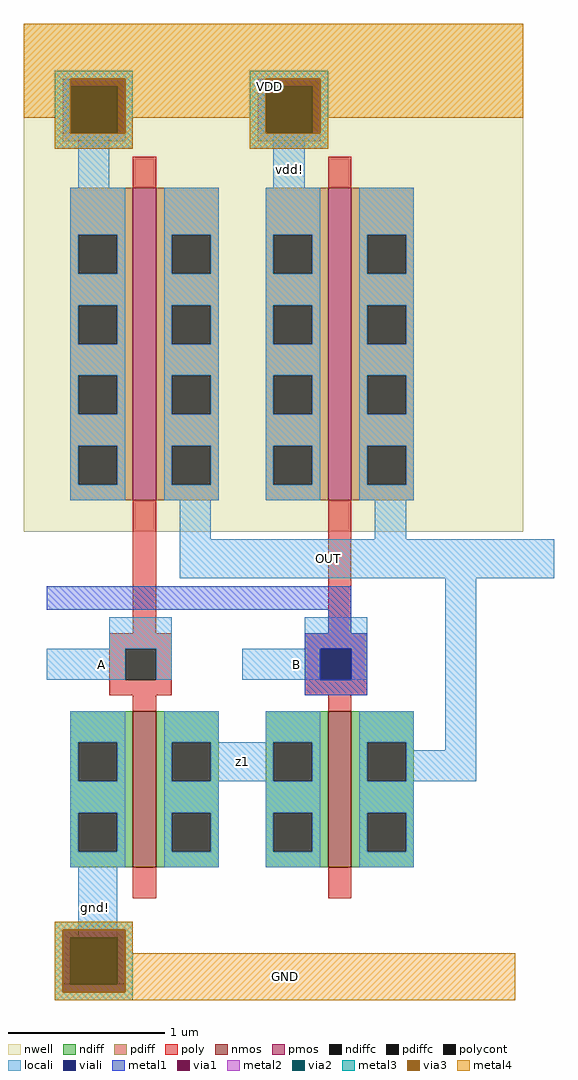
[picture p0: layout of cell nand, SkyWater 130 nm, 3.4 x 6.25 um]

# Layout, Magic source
magic
tech sky130A
<< nwell >>
rect -40 -10 280 315
<< nmos >>
rect 30 -225 45 -125
rect 155 -225 170 -125
<< pmos >>
rect 30 10 45 210
rect 155 10 170 210
<< ndiff >>
rect -10 -145 30 -125
rect -10 -170 -5 -145
rect 20 -170 30 -145
rect -10 -190 30 -170
rect -10 -215 -5 -190
rect 20 -215 30 -190
rect -10 -225 30 -215
rect 45 -145 85 -125
rect 45 -170 55 -145
rect 80 -170 85 -145
rect 45 -190 85 -170
rect 45 -215 55 -190
rect 80 -215 85 -190
rect 45 -225 85 -215
rect 115 -145 155 -125
rect 115 -170 120 -145
rect 145 -170 155 -145
rect 115 -190 155 -170
rect 115 -215 120 -190
rect 145 -215 155 -190
rect 115 -225 155 -215
rect 170 -145 210 -125
rect 170 -170 180 -145
rect 205 -170 210 -145
rect 170 -190 210 -170
rect 170 -215 180 -190
rect 205 -215 210 -190
rect 170 -225 210 -215
<< pdiff >>
rect -10 180 30 210
rect -10 155 -5 180
rect 20 155 30 180
rect -10 135 30 155
rect -10 110 -5 135
rect 20 110 30 135
rect -10 90 30 110
rect -10 65 -5 90
rect 20 65 30 90
rect -10 45 30 65
rect -10 20 -5 45
rect 20 20 30 45
rect -10 10 30 20
rect 45 180 85 210
rect 45 155 55 180
rect 80 155 85 180
rect 45 135 85 155
rect 45 110 55 135
rect 80 110 85 135
rect 45 90 85 110
rect 45 65 55 90
rect 80 65 85 90
rect 45 45 85 65
rect 45 20 55 45
rect 80 20 85 45
rect 45 10 85 20
rect 115 180 155 210
rect 115 155 120 180
rect 145 155 155 180
rect 115 135 155 155
rect 115 110 120 135
rect 145 110 155 135
rect 115 90 155 110
rect 115 65 120 90
rect 145 65 155 90
rect 115 45 155 65
rect 115 20 120 45
rect 145 20 155 45
rect 115 10 155 20
rect 170 180 210 210
rect 170 155 180 180
rect 205 155 210 180
rect 170 135 210 155
rect 170 110 180 135
rect 205 110 210 135
rect 170 90 210 110
rect 170 65 180 90
rect 205 65 210 90
rect 170 45 210 65
rect 170 20 180 45
rect 205 20 210 45
rect 170 10 210 20
<< ndiffc >>
rect -5 -170 20 -145
rect -5 -215 20 -190
rect 55 -170 80 -145
rect 55 -215 80 -190
rect 120 -170 145 -145
rect 120 -215 145 -190
rect 180 -170 205 -145
rect 180 -215 205 -190
<< pdiffc >>
rect -5 155 20 180
rect -5 110 20 135
rect -5 65 20 90
rect -5 20 20 45
rect 55 155 80 180
rect 55 110 80 135
rect 55 65 80 90
rect 55 20 80 45
rect 120 155 145 180
rect 120 110 145 135
rect 120 65 145 90
rect 120 20 145 45
rect 180 155 205 180
rect 180 110 205 135
rect 180 65 205 90
rect 180 20 205 45
<< poly >>
rect 30 210 45 230
rect 155 210 170 230
rect 30 -75 45 10
rect 155 -75 170 10
rect 15 -85 55 -75
rect 15 -105 25 -85
rect 45 -105 55 -85
rect 15 -115 55 -105
rect 140 -85 180 -75
rect 140 -105 150 -85
rect 170 -105 180 -85
rect 140 -115 180 -105
rect 30 -125 45 -115
rect 155 -125 170 -115
rect 30 -245 45 -225
rect 155 -245 170 -225
<< polycont >>
rect 25 -105 45 -85
rect 150 -105 170 -85
<< locali >>
rect -5 210 15 250
rect 120 210 140 250
rect -10 180 25 210
rect -10 155 -5 180
rect 20 155 25 180
rect -10 135 25 155
rect -10 110 -5 135
rect 20 110 25 135
rect -10 90 25 110
rect -10 65 -5 90
rect 20 65 25 90
rect -10 45 25 65
rect -10 20 -5 45
rect 20 20 25 45
rect -10 10 25 20
rect 50 180 85 210
rect 50 155 55 180
rect 80 155 85 180
rect 50 135 85 155
rect 50 110 55 135
rect 80 110 85 135
rect 50 90 85 110
rect 50 65 55 90
rect 80 65 85 90
rect 50 45 85 65
rect 50 20 55 45
rect 80 20 85 45
rect 50 10 85 20
rect 115 180 150 210
rect 115 155 120 180
rect 145 155 150 180
rect 115 135 150 155
rect 115 110 120 135
rect 145 110 150 135
rect 115 90 150 110
rect 115 65 120 90
rect 145 65 150 90
rect 115 45 150 65
rect 115 20 120 45
rect 145 20 150 45
rect 115 10 150 20
rect 175 180 210 210
rect 175 155 180 180
rect 205 155 210 180
rect 175 135 210 155
rect 175 110 180 135
rect 205 110 210 135
rect 175 90 210 110
rect 175 65 180 90
rect 205 65 210 90
rect 175 45 210 65
rect 175 20 180 45
rect 205 20 210 45
rect 175 10 210 20
rect 60 -15 80 10
rect 185 -15 205 10
rect 60 -40 300 -15
rect 15 -85 55 -65
rect 140 -85 180 -65
rect -25 -105 25 -85
rect 45 -105 55 -85
rect 100 -105 150 -85
rect 170 -105 180 -85
rect -10 -145 25 -125
rect -10 -170 -5 -145
rect 20 -170 25 -145
rect -10 -190 25 -170
rect -10 -215 -5 -190
rect 20 -215 25 -190
rect -10 -225 25 -215
rect 50 -145 85 -125
rect 115 -145 150 -125
rect 50 -170 55 -145
rect 80 -170 120 -145
rect 145 -170 150 -145
rect 50 -190 85 -170
rect 50 -215 55 -190
rect 80 -215 85 -190
rect 50 -225 85 -215
rect 115 -190 150 -170
rect 115 -215 120 -190
rect 145 -215 150 -190
rect 115 -225 150 -215
rect 175 -145 210 -125
rect 175 -170 180 -145
rect 205 -150 210 -145
rect 230 -150 250 -40
rect 205 -170 250 -150
rect 175 -190 210 -170
rect 175 -215 180 -190
rect 205 -215 210 -190
rect 175 -225 210 -215
rect -5 -275 20 -225
rect 15 -295 20 -275
<< viali >>
rect -5 250 15 270
rect 120 250 140 270
rect 150 -105 170 -85
rect -5 -295 15 -275
<< metal1 >>
rect -15 275 25 280
rect -15 245 -10 275
rect 20 245 25 275
rect 110 275 150 280
rect 110 245 115 275
rect 145 245 150 275
rect -25 -60 170 -45
rect 155 -75 170 -60
rect 140 -85 180 -75
rect 140 -105 150 -85
rect 170 -105 180 -85
rect 140 -115 180 -105
rect -15 -270 25 -265
rect -15 -300 -10 -270
rect 20 -300 25 -270
<< via1 >>
rect -10 270 20 275
rect -10 250 -5 270
rect -5 250 15 270
rect 15 250 20 270
rect -10 245 20 250
rect 115 270 145 275
rect 115 250 120 270
rect 120 250 140 270
rect 140 250 145 270
rect 115 245 145 250
rect -10 -275 20 -270
rect -10 -295 -5 -275
rect -5 -295 15 -275
rect 15 -295 20 -275
rect -10 -300 20 -295
<< metal2 >>
rect -15 275 25 280
rect -15 245 -10 275
rect 20 245 25 275
rect -15 240 25 245
rect 110 275 150 280
rect 110 245 115 275
rect 145 245 150 275
rect 110 240 150 245
rect -15 -270 25 -265
rect -15 -300 -10 -270
rect 20 -300 25 -270
rect -15 -305 25 -300
<< via2 >>
rect -10 245 20 275
rect 115 245 145 275
rect -10 -300 20 -270
<< metal3 >>
rect -20 280 30 285
rect -20 245 -10 280
rect 25 245 30 280
rect -20 235 30 245
rect 105 280 155 285
rect 105 245 115 280
rect 150 245 155 280
rect 105 235 155 245
rect -20 -265 30 -260
rect -20 -305 -15 -265
rect 25 -305 30 -265
rect -20 -310 30 -305
<< via3 >>
rect -10 275 25 280
rect -10 245 20 275
rect 20 245 25 275
rect 115 275 150 280
rect 115 245 145 275
rect 145 245 150 275
rect -15 -270 25 -265
rect -15 -300 -10 -270
rect -10 -300 20 -270
rect 20 -300 25 -270
rect -15 -305 25 -300
<< metal4 >>
rect -40 280 280 315
rect -40 255 -10 280
rect -20 245 -10 255
rect 25 255 115 280
rect 25 245 30 255
rect -20 235 30 245
rect 105 245 115 255
rect 150 255 280 280
rect 150 245 155 255
rect 105 235 155 245
rect -20 -265 30 -260
rect -20 -305 -15 -265
rect 25 -280 30 -265
rect 25 -305 275 -280
rect -20 -310 275 -305
<< labels >>
rlabel locali 60 -40 250 -15 1 OUT
rlabel space 100 -105 170 -85 1 B
rlabel locali -25 -105 45 -85 1 A
rlabel nwell -40 260 275 290 1 VDD
rlabel metal4 -20 -310 275 -280 1 GND
rlabel locali 55 -170 145 -145 1 z1
rlabel locali 130 222 130 222 1 vdd!
rlabel locali 6 -251 6 -251 1 gnd!
<< end >>
